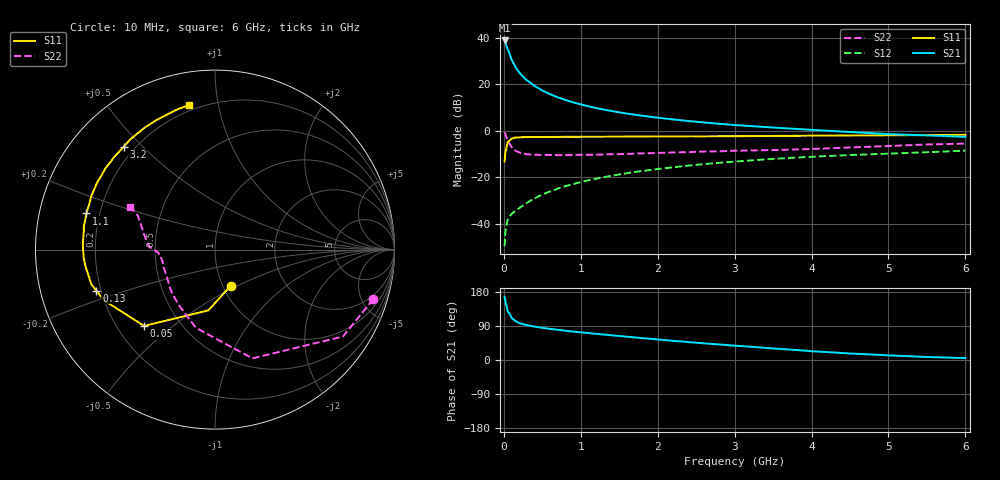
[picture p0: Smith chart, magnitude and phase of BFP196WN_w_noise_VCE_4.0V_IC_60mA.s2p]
! Infineon Technologies  Discrete & RF Semiconductors
! BFP196WN
! VCE =  4.0 V,  IC =  60 mA
! Common Emitter S-Parameters:  Jan 2017
# GHz  S  MA  R  50
!  f  S11  S21  S12  S22
! GHz  MAG  ANG  MAG  ANG  MAG  ANG  MAG  ANG
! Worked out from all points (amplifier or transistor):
!   77 points, 10 MHz to 6 GHz, reference 50 ohm
!   highest |S21| = 38.8 dB at 10 MHz (marker M1)
!   |S21| within 3 dB of that: start of sweep to 41.23 MHz
!   unconditionally stable (mu >= 1): 577.5 MHz to 2.679 GHz
!   at 130 MHz: K = 0.60, MSG = 31.9 dB, |S12| = -35.0 dB
!   at 2.2 GHz: K = 1.02, MAG = 9.4 dB, |S12| = -15.7 dB
!   at 6 GHz: K = 0.92, MSG = 3.0 dB, |S12| = -8.6 dB
!   lowest NFmin = 1.38 dB at 450 MHz
!   S11 on the Smith chart (normalised r, x): 10 MHz: 1.09, -0.46; 50 MHz: 0.31, -0.40; 130 MHz: 0.18, -0.16; 1.1 GHz: 0.15, +0.13; 3.2 GHz: 0.16, +0.44; 6 GHz: 0.17, +0.82
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0.01  0.2194 -66.6  87.43 166.7  0.0033 77.9  0.924 -17.4
0.02  0.3404 -96.2  79.03 153.7  0.0067 73.6  0.8618 -34.2
0.05  0.5803 -132.9  56.75 128.3  0.0123 49.2  0.6409 -71.0
0.1  0.6799 -155.4  33.72 110.6  0.0162 50.4  0.4485 -103.7
0.13  0.6996 -160.9  27.57 106.5  0.0178 51.8  0.3971 -114.0
0.15  0.7161 -164.4  23.59 102.5  0.0188 52.6  0.3715 -122.2
0.2  0.7221 -169.9  17.94 97.7  0.0217 55.0  0.3425 -134.0
0.25  0.7286 -173.3  14.46 94.4  0.0248 58.2  0.3251 -141.4
0.3  0.7325 -175.9  12.12 91.9  0.0281 60.8  0.3126 -147.5
0.4  0.7352 180.0  9.16 87.9  0.0352 65.2  0.3045 -154.9
0.5  0.7362 176.9  7.339 84.8  0.0426 67.0  0.3029 -160.1
0.6  0.7369 174.4  6.131 82.1  0.0494 67.8  0.3019 -163.8
0.7  0.7378 172.3  5.25 79.8  0.0567 69.6  0.2998 -166.4
0.9  0.7412 167.9  4.085 75.0  0.0711 69.4  0.3025 -169.9
1.1  0.7443 164.3  3.355 71.1  0.0863 69.6  0.3048 -172.7
1.5  0.7491 157.6  2.485 63.3  0.115 67.4  0.3146 -176.4
2.1  0.7552 148.0  1.83 52.5  0.1572 63.3  0.3374 -179.6
3.1  0.7643 133.1  1.297 36.5  0.2235 54.8  0.3742 175.7
3.2  0.7662 131.7  1.265 35.1  0.2296 53.9  0.3766 174.9
4.1  0.7852 118.9  1.025 22.1  0.2807 46.1  0.4118 166.1
5.1  0.8012 108.1  0.837 11.4  0.3268 38.4  0.4771 155.9
6  0.8181 100.2  0.74 5.1  0.3735 32.4  0.5308 153.6
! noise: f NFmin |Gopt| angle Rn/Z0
0.45  1.38  0.55  -177  0.05
0.9  1.49  0.57  -169  0.06
1.9  2.42  0.69  -147  0.18
2.4  3.19  0.7  -139  0.3
